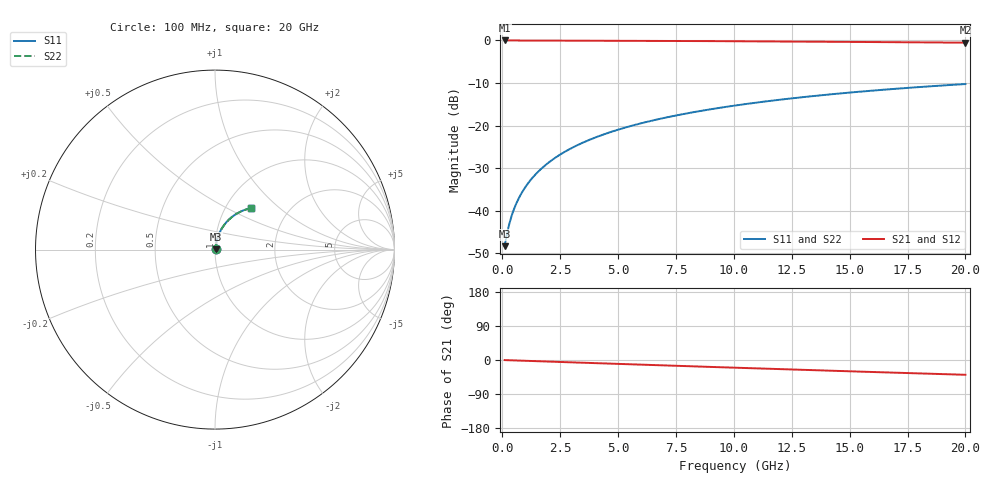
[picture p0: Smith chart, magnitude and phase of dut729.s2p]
! Touchstone file exported from HFSS 2026.1.0
!  File:  C:/ffzhzh/LocalFiles/Ansys_Project_Files/temp_train_BSMRDL_729_1783168486_55132.aedt
!  Generated:  08:35:57 PM Jul  4, 2026
!  Design:  BSMRDL
!  Project:  temp_train_BSMRDL_729_1783168486_55132
! Variables:
!  h_bsmrdl = 3.56um
!  h_ox = 20um
!  h_rdl = 5um
!  h_sub = 80um
!  h_tmrdl = 5um
!  h_tsv = 80um
!  h_via = 3um
!  l_bsmrdl = 604.19um
!  l_sub = 1004.19um
!  l_tmrdl = 200um
!  m_sub = 200um
!  pitch = 37.32um
!  r_tsv = 6um
!  s_tmrdl = 10um
!  w_bsmrdl = 19.78um
!  w_sub = 500um
!  w_tmrdl = 12um
!  x_tsv_center1 = 206um
!  x_tsv_center2 = 829.97um
!  x_tsv_center3 = 1041.97um
!  x_tsv_center4 = 1665.94um
!  x_tsv_center5 = 1877.94um
!  x_tsv_center6 = 2501.91um
# GHz S MA R 50.000000
! Terminal data exported
! Port[1] = BSM_RDL1_1_T1
! Port[2] = BSM_RDL1_1_T2
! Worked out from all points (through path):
!   200 points, 100 MHz to 20 GHz, reference 50 ohm
!   highest |S21| = -0.03 dB at 100 MHz (marker M1); lowest = -0.5 dB at 20 GHz (marker M2)
!   group delay of S21, straight-line fit = 5.42 ps
!   lowest |S11| = -48.3 dB at 100 MHz (marker M3), VSWR 1.01, Z = 50.3 + j0.207 ohm
!   |S11| at or under -10 dB: start of sweep to end of sweep
!   |S22| runs from -48.3 to -10.3 dB; largest |S21 - S12| = 4.3e-15
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0.1  0.003832 32.5  0.9968 -0.2  0.9968 -0.2  0.003832 32.5
! Gamma 0 0 0 0
! Port Impedance 50 0 50 0
0.2  0.005289 49.9  0.9966 -0.4  0.9966 -0.4  0.005289 49.9
0.3  0.006952 58.6  0.9964 -0.7  0.9964 -0.7  0.006952 58.6
0.4  0.00865 63.7  0.9963 -0.9  0.9963 -0.9  0.00865 63.7
0.5  0.01035 67.2  0.9961 -1.1  0.9961 -1.1  0.01035 67.2
0.6  0.01206 69.7  0.996 -1.3  0.996 -1.3  0.01206 69.7
0.8  0.01551 73.1  0.9958 -1.7  0.9958 -1.7  0.01551 73.1
1.1  0.02075 76.0  0.9956 -2.3  0.9956 -2.3  0.02075 76.0
1.3  0.02428 77.1  0.9954 -2.7  0.9954 -2.7  0.02428 77.1
1.6  0.0296 78.1  0.9952 -3.3  0.9952 -3.3  0.0296 78.1
2.1  0.03849 78.8  0.9947 -4.4  0.9947 -4.4  0.03849 78.8
2.7  0.04915 78.7  0.994 -5.6  0.994 -5.6  0.04915 78.7
3.5  0.06328 78.0  0.9927 -7.2  0.9927 -7.2  0.06328 78.0
4.2  0.07552 77.0  0.9915 -8.7  0.9915 -8.7  0.07552 77.0
5  0.08933 75.7  0.9898 -10.3  0.9898 -10.3  0.08933 75.7
5.9  0.1046 74.2  0.9878 -12.1  0.9878 -12.1  0.1046 74.2
6.8  0.1197 72.6  0.9855 -13.9  0.9855 -13.9  0.1197 72.6
8.3  0.1441 69.8  0.9813 -16.9  0.9813 -16.9  0.1441 69.8
10.1  0.1724 66.5  0.9758 -20.4  0.9758 -20.4  0.1724 66.5
13.4  0.2213 60.5  0.9645 -26.8  0.9645 -26.8  0.2213 60.4
16.7  0.2662 54.6  0.9522 -33.0  0.9522 -33.0  0.2662 54.5
20  0.3068 48.7  0.9394 -39.0  0.9394 -39.0  0.3068 48.7
